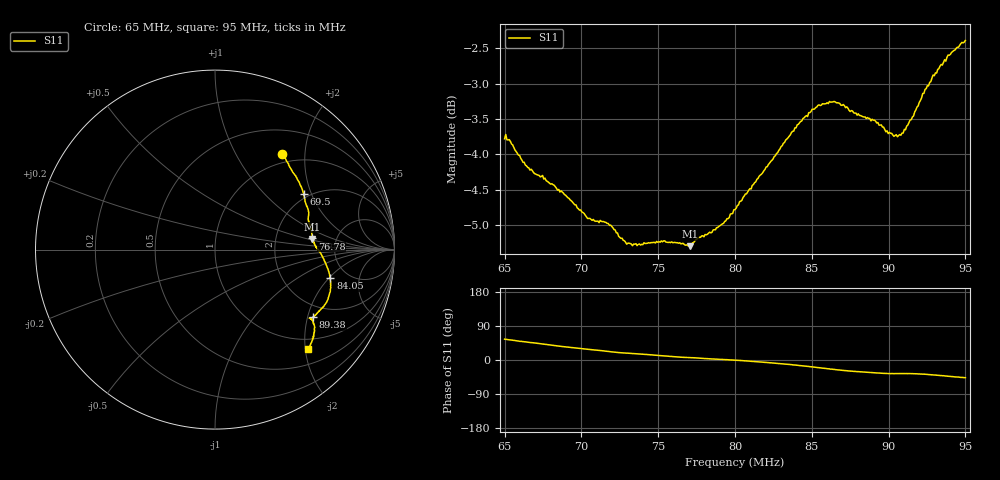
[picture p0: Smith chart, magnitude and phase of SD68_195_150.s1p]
! NanoVNA-App
! Date: 2025-08-09 16:23:40
! Start: 65MHz Stop: 95MHz Points: 401
! S-Parameter data: F S11
# Hz S RI R 50
!  Frequency  S11_Real  S11_Imag
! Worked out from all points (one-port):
!   401 points, 65 MHz to 95 MHz, reference 50 ohm
!   lowest |S11| = -5.3 dB at 77.08 MHz (marker M1), VSWR 3.38, Z = 164 + j27.6 ohm
!   |S11| at or under -10 dB: nowhere
!   S11 on the Smith chart (normalised r, x): 65 MHz: 0.86, +1.57; 69.5 MHz: 1.88, +1.76; 76.78 MHz: 3.28, +0.58; 84.05 MHz: 3.67, -2.08; 89.38 MHz: 1.62, -2.16; 95 MHz: 0.79, -2.06
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6.5e7  0.3707 0.5306
6.5225e7  0.3824 0.5208
6.59e7  0.405 0.4829
6.875e7  0.483 0.3451
6.95e7  0.4939 0.3087
7.055e7  0.5038 0.2638
7.1825e7  0.5207 0.2121
7.25e7  0.5202 0.1829
7.3475e7  0.5222 0.1572
7.625e7  0.5413 0.0766
7.6775e7  0.5409 0.0624
7.7075e7  0.5403 0.0594
8e7  0.5768 -0.00254
8.2175e7  0.6162 -0.0748
8.375e7  0.639 -0.1446
8.405e7  0.6427 -0.1592
8.555e7  0.6387 -0.2423
8.6675e7  0.6178 -0.2988
8.75e7  0.5902 -0.3307
8.9375e7  0.5452 -0.3751
8.99e7  0.5335 -0.3812
9.0425e7  0.5277 -0.3808
9.125e7  0.5356 -0.3886
9.1775e7  0.5459 -0.4025
9.2375e7  0.5548 -0.429
9.29e7  0.5544 -0.456
9.3725e7  0.5425 -0.4947
9.5e7  0.5198 -0.5536
